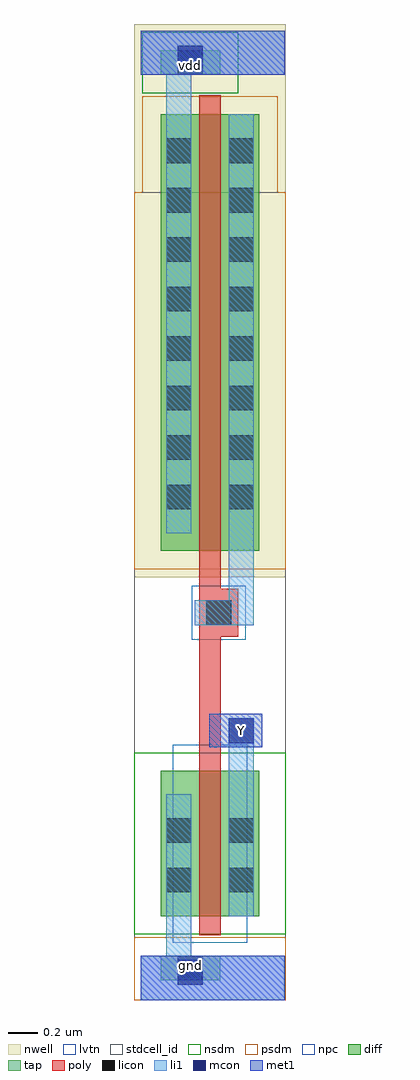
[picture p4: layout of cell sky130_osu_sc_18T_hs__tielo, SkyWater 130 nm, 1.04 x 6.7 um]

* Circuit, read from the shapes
.subckt sky130_osu_sc_18T_hs__tielo Y gnd vdd
XM1 Y n1 gnd gnd sky130_fd_pr__nfet_01v8_lvt w=1 l=0.15
XM2 n1 n1 vdd vdd sky130_fd_pr__pfet_01v8 w=3 l=0.15
.ends

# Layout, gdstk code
import gdstk
lib = gdstk.Library(unit=1e-6, precision=1e-09)
def R(c, l, rs):  # rectangles x0, y0, x1, y1
    for r in rs: c.add(gdstk.rectangle(r[:2], r[2:], *l))
nwell = (64, 20)
diff = (65, 20)
tap = (65, 44)
poly = (66, 20)
licon = (66, 44)
li1 = (67, 20)
mcon = (67, 44)
met1 = (68, 20)
stdcell_id = (81, 4)
nsdm = (93, 44)
psdm = (94, 20)
npc = (95, 20)
lvtn = (125, 44)

sky130_osu_sc_18t_hs__ti = lib.new_cell('sky130_osu_sc_18T_hs__tielo')
R(sky130_osu_sc_18t_hs__ti, nwell, [(-0.045,2.905,0.995,6.705), (-0.045,2.905,0.995,6.705)])
R(sky130_osu_sc_18t_hs__ti, diff, [(0.135,0.575,0.815,1.575), (0.135,0.575,0.815,1.575), (0.135,3.085,0.815,6.085), (0.135,3.085,0.815,6.085)])
R(sky130_osu_sc_18t_hs__ti, tap, [(0.135,0.135,0.545,0.305), (0.135,0.135,0.545,0.305), (0.135,6.355,0.545,6.525), (0.135,6.355,0.545,6.525)])
R(sky130_osu_sc_18t_hs__ti, poly, [(0.4,0.445,0.55,2.495), (0.4,0.445,0.55,2.495), (0.4,2.495,0.67,2.825), (0.4,2.495,0.67,2.825), (0.4,2.825,0.55,6.215), (0.4,2.825,0.55,6.215)])
R(sky130_osu_sc_18t_hs__ti, licon, [(0.255,0.135,0.425,0.305), (0.255,0.135,0.425,0.305), (0.175,0.74,0.345,0.91), (0.175,0.74,0.345,0.91), (0.605,0.74,0.775,0.91), (0.605,0.74,0.775,0.91), (0.175,1.08,0.345,1.25), (0.175,1.08,0.345,1.25), (0.605,1.08,0.775,1.25), (0.605,1.08,0.775,1.25), (0.45,2.575,0.62,2.745), (0.45,2.575,0.62,2.745), (0.175,3.37,0.345,3.54), (0.175,3.37,0.345,3.54), (0.605,3.37,0.775,3.54), (0.605,3.37,0.775,3.54), (0.175,3.71,0.345,3.88), (0.175,3.71,0.345,3.88), (0.605,3.71,0.775,3.88), (0.605,3.71,0.775,3.88), (0.175,4.05,0.345,4.22), (0.175,4.05,0.345,4.22), (0.605,4.05,0.775,4.22), (0.605,4.05,0.775,4.22), (0.175,4.39,0.345,4.56), (0.175,4.39,0.345,4.56), (0.605,4.39,0.775,4.56), (0.605,4.39,0.775,4.56), (0.175,4.73,0.345,4.9), (0.175,4.73,0.345,4.9), (0.605,4.73,0.775,4.9), (0.605,4.73,0.775,4.9), (0.175,5.07,0.345,5.24), (0.175,5.07,0.345,5.24), (0.605,5.07,0.775,5.24), (0.605,5.07,0.775,5.24), (0.175,5.41,0.345,5.58), (0.175,5.41,0.345,5.58), (0.605,5.41,0.775,5.58), (0.605,5.41,0.775,5.58), (0.175,5.75,0.345,5.92), (0.175,5.75,0.345,5.92), (0.605,5.75,0.775,5.92), (0.605,5.75,0.775,5.92), (0.255,6.355,0.425,6.525), (0.255,6.355,0.425,6.525)])
R(sky130_osu_sc_18t_hs__ti, li1, [(0,0,0.99,0.305), (0,0,0.99,0.305), (0.175,0.305,0.345,1.415), (0.175,0.305,0.345,1.415), (0.605,0.575,0.775,1.935), (0.605,0.575,0.775,1.935), (0.37,2.575,0.775,2.745), (0.37,2.575,0.775,2.745), (0.605,2.745,0.775,6.085), (0.605,2.745,0.775,6.085), (0.175,3.205,0.345,6.355), (0.175,3.205,0.345,6.355), (0,6.355,0.99,6.66), (0,6.355,0.99,6.66)])
R(sky130_osu_sc_18t_hs__ti, mcon, [(0.255,0.105,0.425,0.275), (0.255,0.105,0.425,0.275), (0.605,1.765,0.775,1.935), (0.605,1.765,0.775,1.935), (0.255,6.385,0.425,6.555), (0.255,6.385,0.425,6.555)])
R(sky130_osu_sc_18t_hs__ti, met1, [(0,0,0.99,0.305), (0,0,0.99,0.305), (0.47,1.735,0.835,1.965), (0.47,1.735,0.835,1.965), (0,6.355,0.99,6.66), (0,6.355,0.99,6.66)])
R(sky130_osu_sc_18t_hs__ti, stdcell_id, [(-0.045,0,0.995,5.55), (-0.045,0,0.995,5.55)])
R(sky130_osu_sc_18t_hs__ti, nsdm, [(-0.045,0.45,0.995,1.7), (-0.045,0.45,0.995,1.7), (0.01,6.23,0.67,6.65), (0.01,6.23,0.67,6.65)])
R(sky130_osu_sc_18t_hs__ti, psdm, [(-0.045,0,0.995,0.43), (-0.045,0,0.995,0.43), (-0.045,2.96,0.995,5.55), (-0.045,2.96,0.995,5.55), (0.01,5.55,0.94,6.21), (0.01,5.55,0.94,6.21)])
R(sky130_osu_sc_18t_hs__ti, npc, [(0.35,2.475,0.72,2.845), (0.35,2.475,0.72,2.845)])
R(sky130_osu_sc_18t_hs__ti, lvtn, [(0.22,0.395,0.73,1.755), (0.22,0.395,0.73,1.755)])
sky130_osu_sc_18t_hs__ti.add(gdstk.Label('gnd', (0.34,0.24), layer=68, texttype=16))
sky130_osu_sc_18t_hs__ti.add(gdstk.Label('vdd', (0.34,6.42), layer=68, texttype=16))
sky130_osu_sc_18t_hs__ti.add(gdstk.Label('gnd', (0.34,0.24), layer=68, texttype=16))
sky130_osu_sc_18t_hs__ti.add(gdstk.Label('vdd', (0.34,6.42), layer=68, texttype=16))
sky130_osu_sc_18t_hs__ti.add(gdstk.Label('Y', (0.69,1.85), layer=68, texttype=5))
sky130_osu_sc_18t_hs__ti.add(gdstk.Label('Y', (0.69,1.85), layer=68, texttype=5))

lib.write_gds('sky130_osu_sc_18T_hs__tielo.gds')
